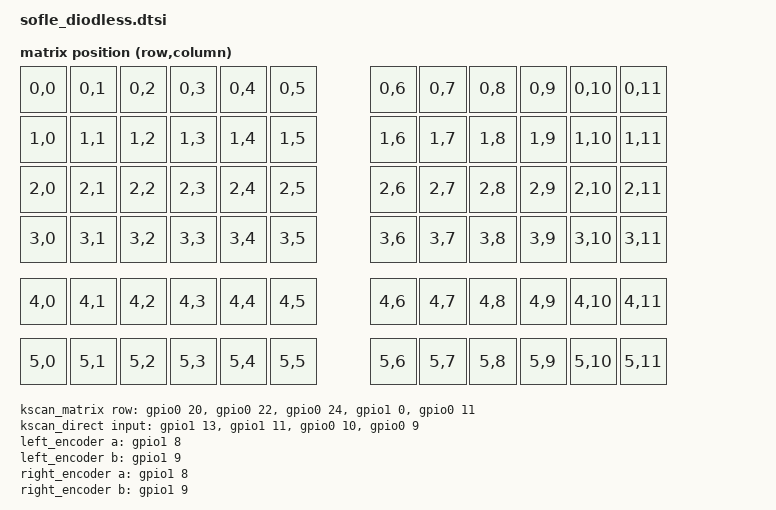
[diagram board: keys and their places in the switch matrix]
/*
 * Copyright (c) 2026, sofle_diodless contributors
 * SPDX-License-Identifier: MIT
 */

/*
 * sofle_diodless — ГИБРИДНАЯ МАТРИЦА (5x6 + 4 прямых GPIO) на nice!nano v2.
 *
 * Общий devicetree для обеих половин. Файл включается из
 * sofle_diodless_left.overlay и sofle_diodless_right.overlay.
 *
 * ─────────────────────────────────────────────────────────────────────
 *  ЧТО ТУТ ОПИСАНО
 * ─────────────────────────────────────────────────────────────────────
 *  1. chosen:           дисплей, kscan, физическая раскладка
 *  2. default_transform матрица 6 x 12 = 72 логические позиции keymap
 *  3. kscan_matrix      5 ROW x 6 COL (без диодов)
 *  4. kscan_direct      4 кнопки, каждая напрямую на GND
 *  5. kscan0            zmk,kscan-composite — объединяет 3 и 4
 *  6. энкодеры EC11 (по одному на половину, отключены по умолчанию)
 *  7. OLED SSD1306 на I2C1 (P0.16 / P0.17), по умолчанию выключен
 *
 * ─────────────────────────────────────────────────────────────────────
 *  РАСПОЛОЖЕНИЕ ФИЗИЧЕСКИХ КЛЮЧЕЙ (позиции kscan)
 * ─────────────────────────────────────────────────────────────────────
 *  Композитный сканер отдаёт 6 "строк" x 6 "столбцов":
 *
 *      col:  0     1      2      3      4      5
 *  row 0:   `     1      2      3      4      5      <- матрица, ROW0
 *  row 1:  ESC    Q      W      E      R      T      <- матрица, ROW1
 *  row 2:  TAB ★  A   ★  S   ★  D   ★  F   ★  G   ★  <- матрица, ROW2 (home row)
 *  row 3:  SFT    Z      X      C      V      B      <- матрица, ROW3
 *  row 4:   --   ALT ★★  CTRL ★★  --     --     --     <- матрица, ROW4 (2 клавиши)
 *  row 5:  GUI 🔴 LOWER 🔴 ENTER 🔴 ENC 🔴  --     --    <- ПРЯМЫЕ GPIO
 *
 *  Матрица: 30 слотов, из них 26 распаяны (row4 используется только
 *            на позициях col1 = ALT и col2 = CTRL).
 *  Прямые:  4 слота (5,0..5,3) — физически изолированы от матрицы,
 *            поэтому ghosting для GUI / LOWER / ENTER / ENC_BTN
 *            МАТЕМАТИЧЕСКИ НЕВОЗМОЖЕН.
 * ─────────────────────────────────────────────────────────────────────
 */

#include <dt-bindings/zmk/matrix_transform.h>
#include <physical_layouts.dtsi>

/ {
    chosen {
        zephyr,display = &oled;
        zmk,kscan = &kscan0;
        zmk,physical-layout = &sofle_diodless_layout;
    };

    /* ── Физическая раскладка (для ZMK Studio и маппинга позиций) ── */
    sofle_diodless_layout: sofle_diodless_layout {
        compatible = "zmk,physical-layout";
        display-name = "Sofle Diodless (hybrid)";
        transform = <&default_transform>;

        /* w    h    x     y    rot  rx  ry  — по одному на keymap-позицию */
        keys
            = <&key_physical_attrs 100 100    0   0 0 0 0>, <&key_physical_attrs 100 100  100   0 0 0 0>, <&key_physical_attrs 100 100  200   0 0 0 0>, <&key_physical_attrs 100 100  300   0 0 0 0>, <&key_physical_attrs 100 100  400   0 0 0 0>, <&key_physical_attrs 100 100  500   0 0 0 0>
            , <&key_physical_attrs 100 100  700   0 0 0 0>, <&key_physical_attrs 100 100  800   0 0 0 0>, <&key_physical_attrs 100 100  900   0 0 0 0>, <&key_physical_attrs 100 100 1000   0 0 0 0>, <&key_physical_attrs 100 100 1100   0 0 0 0>, <&key_physical_attrs 100 100 1200   0 0 0 0>
            , <&key_physical_attrs 100 100    0 100 0 0 0>, <&key_physical_attrs 100 100  100 100 0 0 0>, <&key_physical_attrs 100 100  200 100 0 0 0>, <&key_physical_attrs 100 100  300 100 0 0 0>, <&key_physical_attrs 100 100  400 100 0 0 0>, <&key_physical_attrs 100 100  500 100 0 0 0>
            , <&key_physical_attrs 100 100  700 100 0 0 0>, <&key_physical_attrs 100 100  800 100 0 0 0>, <&key_physical_attrs 100 100  900 100 0 0 0>, <&key_physical_attrs 100 100 1000 100 0 0 0>, <&key_physical_attrs 100 100 1100 100 0 0 0>, <&key_physical_attrs 100 100 1200 100 0 0 0>
            , <&key_physical_attrs 100 100    0 200 0 0 0>, <&key_physical_attrs 100 100  100 200 0 0 0>, <&key_physical_attrs 100 100  200 200 0 0 0>, <&key_physical_attrs 100 100  300 200 0 0 0>, <&key_physical_attrs 100 100  400 200 0 0 0>, <&key_physical_attrs 100 100  500 200 0 0 0>
            , <&key_physical_attrs 100 100  700 200 0 0 0>, <&key_physical_attrs 100 100  800 200 0 0 0>, <&key_physical_attrs 100 100  900 200 0 0 0>, <&key_physical_attrs 100 100 1000 200 0 0 0>, <&key_physical_attrs 100 100 1100 200 0 0 0>, <&key_physical_attrs 100 100 1200 200 0 0 0>
            , <&key_physical_attrs 100 100    0 300 0 0 0>, <&key_physical_attrs 100 100  100 300 0 0 0>, <&key_physical_attrs 100 100  200 300 0 0 0>, <&key_physical_attrs 100 100  300 300 0 0 0>, <&key_physical_attrs 100 100  400 300 0 0 0>, <&key_physical_attrs 100 100  500 300 0 0 0>
            , <&key_physical_attrs 100 100  700 300 0 0 0>, <&key_physical_attrs 100 100  800 300 0 0 0>, <&key_physical_attrs 100 100  900 300 0 0 0>, <&key_physical_attrs 100 100 1000 300 0 0 0>, <&key_physical_attrs 100 100 1100 300 0 0 0>, <&key_physical_attrs 100 100 1200 300 0 0 0>
            , <&key_physical_attrs 100 100    0 425 0 0 0>, <&key_physical_attrs 100 100  100 425 0 0 0>, <&key_physical_attrs 100 100  200 425 0 0 0>, <&key_physical_attrs 100 100  300 425 0 0 0>, <&key_physical_attrs 100 100  400 425 0 0 0>, <&key_physical_attrs 100 100  500 425 0 0 0>
            , <&key_physical_attrs 100 100  700 425 0 0 0>, <&key_physical_attrs 100 100  800 425 0 0 0>, <&key_physical_attrs 100 100  900 425 0 0 0>, <&key_physical_attrs 100 100 1000 425 0 0 0>, <&key_physical_attrs 100 100 1100 425 0 0 0>, <&key_physical_attrs 100 100 1200 425 0 0 0>
            , <&key_physical_attrs 100 100    0 545 0 0 0>, <&key_physical_attrs 100 100  100 545 0 0 0>, <&key_physical_attrs 100 100  200 545 0 0 0>, <&key_physical_attrs 100 100  300 545 0 0 0>, <&key_physical_attrs 100 100  400 545 0 0 0>, <&key_physical_attrs 100 100  500 545 0 0 0>
            , <&key_physical_attrs 100 100  700 545 0 0 0>, <&key_physical_attrs 100 100  800 545 0 0 0>, <&key_physical_attrs 100 100  900 545 0 0 0>, <&key_physical_attrs 100 100 1000 545 0 0 0>, <&key_physical_attrs 100 100 1100 545 0 0 0>, <&key_physical_attrs 100 100 1200 545 0 0 0>
            ;
    };

    /* ── MATRIX TRANSFORM: 6 логических строк x 12 логических столбцов ──
     *
     * Индекс = keymap-позиция (слева направо, сверху вниз).
     * Значение = RC(row, col) физической позиции композитного kscan.
     *
     * Левая половина работает без смещения (col-offset = 0),
     * правая — с col-offset = 6 (см. sofle_diodless_right.overlay).
     */
    default_transform: sofle_diodless_transform {
        compatible = "zmk,matrix-transform";
        columns = <12>;
        rows = <6>;
        /*
         *  pos  0- 5  LEFT  row0  ` 1 2 3 4 5     | pos  6-11  RIGHT row0  6 7 8 9 0 —
         *  pos 12-23  LEFT  row1  ESC Q W E R T   | pos 18-23+ RIGHT row1  Y U I O P BSPC
         *  pos 24-35  LEFT  row2  TAB A S D F G ★ | RIGHT row2  H J K L ; '
         *  pos 36-47  LEFT  row3  SFT Z X C V B     | RIGHT row3  N M , . / SHIFT
         *  pos 48-59  LEFT  row4  — ALT CTRL — — — | RIGHT row4  — — — CTRL ALT —
         *  pos 60-71  LEFT  row5  GUI LOWER RET ENC| RIGHT row5  — — SPC RAISE GUI ENC
         */
        map = <
RC(0,0) RC(0,1) RC(0,2) RC(0,3) RC(0,4) RC(0,5) RC(0,6) RC(0,7) RC(0,8) RC(0,9) RC(0,10) RC(0,11)
RC(1,0) RC(1,1) RC(1,2) RC(1,3) RC(1,4) RC(1,5) RC(1,6) RC(1,7) RC(1,8) RC(1,9) RC(1,10) RC(1,11)
RC(2,0) RC(2,1) RC(2,2) RC(2,3) RC(2,4) RC(2,5) RC(2,6) RC(2,7) RC(2,8) RC(2,9) RC(2,10) RC(2,11)
RC(3,0) RC(3,1) RC(3,2) RC(3,3) RC(3,4) RC(3,5) RC(3,6) RC(3,7) RC(3,8) RC(3,9) RC(3,10) RC(3,11)
RC(4,0) RC(4,1) RC(4,2) RC(4,3) RC(4,4) RC(4,5) RC(4,6) RC(4,7) RC(4,8) RC(4,9) RC(4,10) RC(4,11)
RC(5,0) RC(5,1) RC(5,2) RC(5,3) RC(5,4) RC(5,5) RC(5,6) RC(5,7) RC(5,8) RC(5,9) RC(5,10) RC(5,11)
        >;
    };

    /* ═══════════════════════════════════════════════════════════════
     *  KSCAN 1/3 — МАТРИЦА 5 ROW x 6 COL (11 GPIO, без диодов)
     *
     *  diode-direction = "row2col":
     *      row-gpios -> ВЫХОД, в активном состоянии LOW
     *      col-gpios -> ВХОД с внутренней подтяжкой PULL_UP
     *  Нажатие кнопки соединяет ROW-пин с COL-пином => COL становится LOW.
     *
     *  ПОЧЕМУ row2col, А НЕ col2row (важно!):
     *
     *  В матрице БЕЗ ДИОДОВ любые две клавиши, делящие общий узел
     *  (строку или столбец), замыкают два выхода друг на друга.
     *  Драйвер ZMK (kscan_gpio_matrix.c) держит НЕактивные выходы
     *  в активном по напряжению состоянии (HIGH), а не в high-Z:
     *
     *      gpio_pin_set_dt(out, 1);  // scan:  выход -> LOW
     *      ... читаем входы ...
     *      gpio_pin_set_dt(out, 0);  // idle:  выход -> HIGH
     *
     *  => col2row (выходы = COL): КЗ возникает между двумя КОЛОНКАМИ,
     *     то есть ломаются пары клавиш ОДНОГО РЯДА.
     *     Для этой раскладки это катастрофа: ломаются
     *     home-row mods (A+S, S+D, D+F) и Shift+Z/X/C/V/B
     *     (SHIFT физически стоит в третьем ряду!).
     *
     *  => row2col (выходы = ROW): КЗ возникает между двумя РЯДАМИ,
     *     то есть ломаются пары клавиш ОДНОГО СТОЛБЦА.
     *     Home-row mods и Shift+буква при этом работают.
     *     Остаются конфликты: Ctrl+{W,S,X}, Alt+{1,Q,A,Z},
     *     вертикальные "роллы" (Q+A, W+S, E+D, R+F, T+G).
     *
     *  Честный NKRO (любые комбинации) в матрице без диодов
     *  невозможен — нужен либо ревизия PCB с диодами, либо
     *  собственный kscan-драйвер, переводящий неактивные выходы в high-Z.
     *
     *  Важно: смена diode-direction НЕ меняет нумерацию (row, col) —
     *  в драйвере state_index_io() для обоих направлений даёт
     *  (индекс в row-gpios, индекс в col-gpios). Поэтому matrix-transform
     *  и keymap остаются без изменений.
     *
     *  ROW-пины одинаковы на обеих половинах, поэтому вынесены сюда.
     *  col-gpios задаются в соответствующем .overlay.
     * ═══════════════════════════════════════════════════════════════ */
    kscan_matrix: sofle_diodless_matrix {
        compatible = "zmk,kscan-gpio-matrix";
        diode-direction = "row2col";

        row-gpios
            = <&gpio0 20 GPIO_ACTIVE_LOW>   /* ROW0  P0.20  (D0) ` 1 2 3 4 5  */
            , <&gpio0 22 GPIO_ACTIVE_LOW>   /* ROW1  P0.22  (D4) ESC Q W E R T */
            , <&gpio0 24 GPIO_ACTIVE_LOW>   /* ROW2  P0.24  (C6) TAB A S D F G ★ */
            , <&gpio1  0 GPIO_ACTIVE_LOW>   /* ROW3  P1.00  (D7) SFT Z X C V B  */
            , <&gpio0 11 GPIO_ACTIVE_LOW>   /* ROW4  P0.11  (E6) только ALT + CTRL */
            ;
    };

    /* ═══════════════════════════════════════════════════════════════
     *  KSCAN 2/3 — 4 ПРЯМЫХ GPIO -> 4 КЛАВИШИ
     *
     *  Каждая кнопка:  Px.y ──── [ switch ] ──── GND
     *  Внутренний PULL_UP держит пин в HIGH, нажатие даёт LOW.
     *  Эти пины НЕ связаны с матрицей => ghosting невозможен физически.
     *
     *  Список одинаков для обеих половин. Порядок в списке =
     *  индекс "столбца" прямого сканера (0..3), реальная позиция
     *  получается через row-offset/col-offset в sofle_diodless_direct_child.
     * ═══════════════════════════════════════════════════════════════ */
    kscan_direct: sofle_diodless_direct {
        compatible = "zmk,kscan-gpio-direct";

        input-gpios
            = <&gpio1 13 (GPIO_ACTIVE_LOW | GPIO_PULL_UP)>   /* [0] ЛЕВАЯ: GUI        ПРАВАЯ: SPACE  */
            , <&gpio1 11 (GPIO_ACTIVE_LOW | GPIO_PULL_UP)>   /* [1] ЛЕВАЯ: LOWER      ПРАВАЯ: RAISE  */
            , <&gpio0 10 (GPIO_ACTIVE_LOW | GPIO_PULL_UP)>   /* [2] ЛЕВАЯ: ENTER      ПРАВАЯ: RGUI   */
            , <&gpio0  9 (GPIO_ACTIVE_LOW | GPIO_PULL_UP)>   /* [3] ЛЕВАЯ: ENC_BTN    ПРАВАЯ: ENC_BTN */
            ;
    };

    /* ═══════════════════════════════════════════════════════════════
     *  KSCAN 3/3 — zmk,kscan-composite
     *
     *  Объединяет матрицу и прямые кнопки в один сканер 6x6:
     *      матрица  -> (0..4, 0..5)   без смещения
     *      direct   -> (5, 0..3)      row-offset = 5
     *
     *  Для правой половины в overlay выставляется col-offset = 2 у
     *  sofle_diodless_direct_child, чтобы direct-позиции оказались
     *  зеркальными относительно левой половины: (5,2)..(5,5).
     * ═══════════════════════════════════════════════════════════════ */
    kscan0: sofle_diodless_kscan {
        compatible = "zmk,kscan-composite";
        rows = <6>;
        columns = <6>;
        wakeup-source;

        matrix {
            kscan = <&kscan_matrix>;
            row-offset = <0>;
            col-offset = <0>;
        };

        sofle_diodless_direct_child: direct {
            kscan = <&kscan_direct>;
            row-offset = <5>;
            col-offset = <0>;
        };
    };

    /* ═══════════════════════════════════════════════════════════════
     *  ЭНКОДЕРЫ (EC11). Выключены по умолчанию — включаются в .overlay
     *  и в sofle_diodless.conf (CONFIG_EC11=y).
     *  Выводы A/B: P1.08 / P1.09 (одинаковы на обеих половинах).
     *  Кнопка энкодера = ENC_BTN (прямой GPIO, P0.09).
     * ═══════════════════════════════════════════════════════════════ */
    left_encoder: sofle_diodless_encoder_left {
        compatible = "alps,ec11";
        a-gpios = <&gpio1 8 (GPIO_ACTIVE_HIGH | GPIO_PULL_UP)>;
        b-gpios = <&gpio1 9 (GPIO_ACTIVE_HIGH | GPIO_PULL_UP)>;
        steps = <80>;
        status = "disabled";
    };

    right_encoder: sofle_diodless_encoder_right {
        compatible = "alps,ec11";
        a-gpios = <&gpio1 8 (GPIO_ACTIVE_HIGH | GPIO_PULL_UP)>;
        b-gpios = <&gpio1 9 (GPIO_ACTIVE_HIGH | GPIO_PULL_UP)>;
        steps = <80>;
        status = "disabled";
    };

    sensors: sensors {
        compatible = "zmk,keymap-sensors";
        sensors = <&left_encoder &right_encoder>;
        triggers-per-rotation = <20>;
    };
};

/* ═══════════════════════════════════════════════════════════════════
 *  КОНФЛИКТЫ ПИНОВ nice!nano, КОТОРЫЕ НУЖНО ОТКЛЮЧИТЬ:
 *
 *  i2c0 (pro_micro_i2c) использует P0.17 (SDA) и P0.20 (SCL),
 *  а P0.20 у нас — ROW0. Поэтому I2C0 выключаем, OLED перевешен
 *  на I2C1: SDA = P0.16, SCL = P0.17.
 *
 *  spi1 (pro_micro_spi) использует P1.13 / P0.10 / P1.11 —
 *  это ровно наши три прямые клавиши. Выключаем.
 * ═══════════════════════════════════════════════════════════════════ */
&pro_micro_i2c {
    status = "disabled";
};

&pro_micro_spi {
    status = "disabled";
};

/* OLED SSD1306 — включается в sofle_diodless.conf (CONFIG_ZMK_DISPLAY=y) */
&i2c1 {
    compatible = "nordic,nrf-twim";
    status = "okay";

    pinctrl-0 = <&sofle_diodless_i2c1_default>;
    pinctrl-1 = <&sofle_diodless_i2c1_sleep>;
    pinctrl-names = "default", "sleep";

    /* SSD1306 не переносит повторный START между фрагментами */
    zephyr,concat-buf-size = <16>;

    oled: ssd1306@3c {
        compatible = "solomon,ssd1306fb";
        reg = <0x3c>;
        width = <128>;
        height = <32>;
        segment-offset = <0>;
        page-offset = <0>;
        display-offset = <0>;
        multiplex-ratio = <31>;
        segment-remap;
        com-invdir;
        com-sequential;
        inversion-on;
        prechargep = <0x22>;
    };
};

&pinctrl {
    sofle_diodless_i2c1_default: sofle_diodless_i2c1_default {
        group1 {
            psels = <NRF_PSEL(TWIM_SDA, 0, 16)>,   /* P0.16 */
                    <NRF_PSEL(TWIM_SCL, 0, 17)>;   /* P0.17 */
        };
    };

    sofle_diodless_i2c1_sleep: sofle_diodless_i2c1_sleep {
        group1 {
            psels = <NRF_PSEL(TWIM_SDA, 0, 16)>,
                    <NRF_PSEL(TWIM_SCL, 0, 17)>;
            low-power-enable;
        };
    };
};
